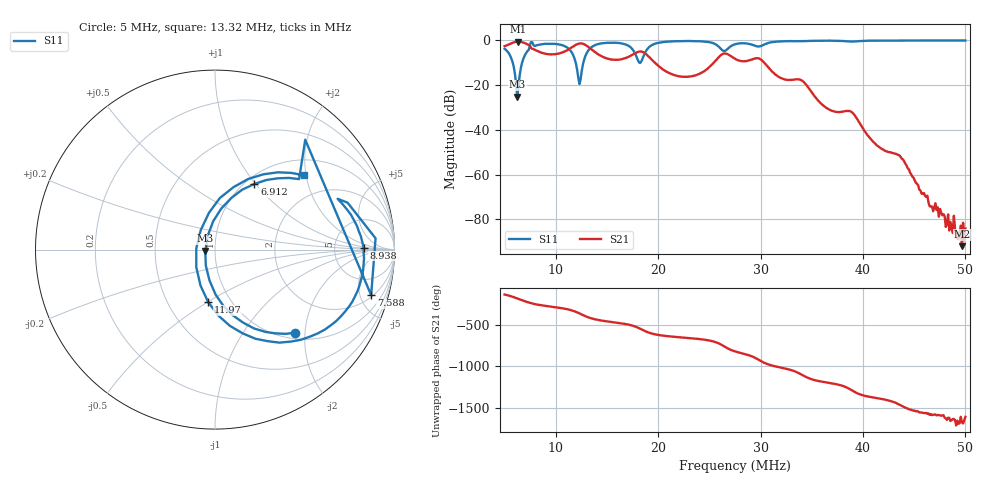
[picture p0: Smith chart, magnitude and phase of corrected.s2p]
! S11/S21 only; reverse parameters are placeholders. Device calibration unverified.
! [Saver CAL applied] C:\Users\aknya\MyProjects\rf-simulator\calibration2.cal | Ideal standards assumed | Input: NanoVNA F V2 profile | COM3 | 2026-09-08T11:57:47.5385913-04:00 | device calibration unverified
# HZ S RI R 50
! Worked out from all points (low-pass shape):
!   401 points, 5 MHz to 50 MHz, reference 50 ohm
!   highest |S21| = -0.68 dB at 6.35 MHz (marker M1); lowest = -91.9 dB at 49.66 MHz (marker M2)
!   |S21| within 3 dB of the highest: start of sweep to 7.637 MHz; 11.41 MHz to 13.36 MHz (1.943 MHz wide, 15.7 % of centre)
!   lowest |S11| = -25.3 dB at 6.237 MHz (marker M3), VSWR 1.12, Z = 44.9 - j0.565 ohm
!   |S11| at or under -10 dB: 5.791 MHz to 6.713 MHz (922.2 kHz wide, 14.8 % of centre); 11.94 MHz to 12.69 MHz (757.5 kHz wide, 6.15 % of centre); 18.15 MHz to 18.28 MHz (136.4 kHz wide, 0.749 % of centre)
!   S12 and S22 are empty: the file has one direction only
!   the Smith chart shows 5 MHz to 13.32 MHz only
!   S11 on the Smith chart (normalised r, x): 5 MHz: 1.12, -1.77; 6.912 MHz: 1.10, +0.99; 7.588 MHz: 2.20, -6.24; 8.938 MHz: 11, +1; 11.97 MHz: 0.79, -0.50; 13.32 MHz: 1.37, +1.94
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5000000  0.4448 -0.4631  -0.4869 -0.547  0 0  0 0
6237500  -0.0542 -0.00628  -0.9219 -0.0199  0 0  0 0
6350000  -0.0396 0.0798  -0.9219 0.0673  0 0  0 0
6912500  0.2196 0.3659  -0.7514 0.432  0 0  0 0
7587500  0.87 -0.2537  -0.3786 0.5457  0 0  0 0
8937500  0.8277 0.0115  -0.0178 0.4987  0 0  0 0
1.1975e7  -0.0389 -0.2908  0.7474 0.2548  0 0  0 0
1.25375e7  -0.0336 0.2049  0.819 -0.1911  0 0  0 0
1.3325e7  0.4945 0.4139  0.3925 -0.534  0 0  0 0
1.59125e7  0.8072 -0.3292  -0.1315 -0.3393  0 0  0 0
1.7375e7  0.2141 -0.6323  -0.3683 -0.27  0 0  0 0
1.81625e7  -0.3103 -0.0345  -0.5554 0.000373  0 0  0 0
1.895e7  0.2646 0.5802  -0.3182 0.328  0 0  0 0
2.0075e7  0.8182 0.3168  -0.0385 0.2573  0 0  0 0
2.615e7  0.4944 -0.3862  0.4477 -0.1363  0 0  0 0
2.75e7  0.7614 -0.2709  -0.0571 -0.3785  0 0  0 0
3.03125e7  0.7276 -0.3099  -0.1838 0.2636  0 0  0 0
3.50375e7  0.6988 -0.6626  0.0137 -0.0644  0 0  0 0
4.2575e7  0.4422 -0.8706  0.00286 0.00136  0 0  0 0
4.6625e7  0.2836 -0.9372  -0.000138 -0.000135  0 0  0 0
4.96625e7  0.168 -0.9654  -1.31e-05 2.16e-05  0 0  0 0
5e7  0.1583 -0.9678  -6.16e-05 -1.12e-05  0 0  0 0
